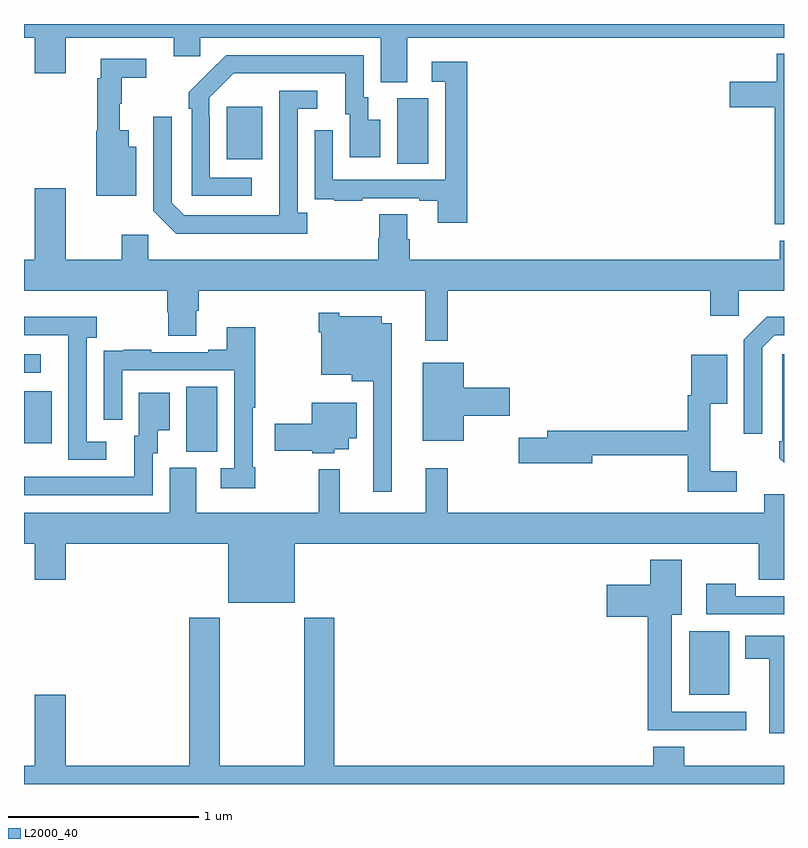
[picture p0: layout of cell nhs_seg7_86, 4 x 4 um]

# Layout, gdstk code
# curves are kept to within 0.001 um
import gdstk
lib = gdstk.Library(unit=1e-6, precision=1e-09)
def R(c, l, rs):  # rectangles x0, y0, x1, y1
    for r in rs: c.add(gdstk.rectangle(r[:2], r[2:], *l))
def P(c, l, *ps):  # polygons
    for p in ps: c.add(gdstk.Polygon(p, *l))
L2000_40 = (2000, 40)

nhs_seg7_86 = lib.new_cell('nhs_seg7_86')
R(nhs_seg7_86, L2000_40, [(120.5,1018.469,120.712,1018.804), (117.854,1019.749,118.018,1020.092), (117,1019.793,117.145,1020.067), (117,1020.165,117.088,1020.261), (118.964,1021.264,119.128,1021.608), (118.067,1021.289,118.255,1021.564)])
P(nhs_seg7_86, L2000_40, [(119.017,1021.928),(121,1021.928),(121,1022),(117,1022),(117,1021.928),(117.056,1021.928),(117.056,1021.74),(117.22,1021.74),(117.22,1021.928),(117.788,1021.928),(117.788,1021.83),(117.927,1021.83),(117.927,1021.928),(118.877,1021.928),(118.877,1021.693),(119.017,1021.693)],
  [(121,1021.843),(120.962,1021.843),(120.962,1021.696),(120.714,1021.696),(120.714,1021.562),(120.95,1021.562),(120.95,1020.947),(121,1020.947)],
  [(118.198,1021.191),(117.978,1021.191),(117.978,1021.511),(117.975,1021.511),(117.975,1021.611),(118.104,1021.74),(118.691,1021.74),(118.691,1021.524),(118.715,1021.524),(118.715,1021.299),(118.876,1021.299),(118.876,1021.495),(118.813,1021.495),(118.813,1021.614),(118.788,1021.614),(118.788,1021.836),(118.064,1021.836),(117.867,1021.641),(117.867,1021.553),(117.882,1021.553),(117.882,1021.095),(118.198,1021.095)],
  [(117.592,1021.354),(117.55,1021.354),(117.55,1021.441),(117.503,1021.441),(117.503,1021.581),(117.514,1021.581),(117.514,1021.717),(117.643,1021.717),(117.643,1021.818),(117.404,1021.818),(117.404,1021.715),(117.385,1021.715),(117.385,1021.437),(117.38,1021.437),(117.38,1021.097),(117.592,1021.097)],
  [(119.333,1021.801),(119.145,1021.801),(119.145,1021.695),(119.217,1021.695),(119.217,1021.179),(118.626,1021.179),(118.626,1021.441),(118.53,1021.441),(118.53,1021.186),(118.531,1021.186),(118.531,1021.077),(118.633,1021.077),(118.633,1021.071),(118.781,1021.071),(118.781,1021.083),(119.081,1021.083),(119.081,1021.071),(119.177,1021.071),(119.177,1020.954),(119.333,1020.954)],
  [(118.492,1021.006),(118.44,1021.006),(118.44,1021.554),(118.543,1021.554),(118.543,1021.65),(118.344,1021.65),(118.343,1020.993),(117.843,1020.993),(117.777,1021.059),(117.777,1021.513),(117.681,1021.513),(117.681,1021.017),(117.802,1020.896),(118.492,1020.896)],
  [(119.231,1020.596),(120.611,1020.596),(120.611,1020.465),(120.762,1020.465),(120.762,1020.596),(121,1020.596),(121,1020.859),(120.977,1020.859),(120.977,1020.76),(119.03,1020.76),(119.03,1020.866),(119.017,1020.866),(119.017,1020.998),(118.87,1020.998),(118.87,1020.873),(118.865,1020.873),(118.865,1020.76),(117.654,1020.76),(117.654,1020.892),(117.515,1020.892),(117.515,1020.76),(117.22,1020.76),(117.22,1021.135),(117.056,1021.135),(117.056,1020.76),(117,1020.76),(117,1020.596),(117.755,1020.596),(117.755,1020.483),(117.76,1020.483),(117.76,1020.358),(117.907,1020.358),(117.907,1020.49),(117.92,1020.49),(117.92,1020.596),(119.113,1020.596),(119.113,1020.333),(119.231,1020.333)],
  [(118.936,1020.424),(118.882,1020.424),(118.882,1020.463),(118.659,1020.463),(118.659,1020.481),(118.551,1020.481),(118.551,1020.377),(118.565,1020.377),(118.565,1020.155),(118.724,1020.155),(118.724,1020.119),(118.839,1020.119),(118.839,1019.538),(118.936,1019.538)],
  [(120.885,1020.297),(120.951,1020.363),(121,1020.363),(121,1020.46),(120.91,1020.46),(120.789,1020.339),(120.789,1019.844),(120.885,1019.844)],
  [(117.433,1019.802),(117.33,1019.802),(117.33,1020.35),(117.382,1020.35),(117.382,1020.46),(117,1020.46),(117,1020.363),(117.233,1020.363),(117.233,1020.163),(117.234,1020.163),(117.234,1019.706),(117.433,1019.706)],
  [(118.216,1019.668),(118.203,1019.668),(118.203,1019.98),(118.216,1019.98),(118.216,1020.403),(118.067,1020.403),(118.067,1020.286),(117.971,1020.286),(117.971,1020.273),(117.671,1020.273),(117.671,1020.286),(117.523,1020.286),(117.523,1020.279),(117.421,1020.279),(117.421,1020.17),(117.42,1020.17),(117.42,1019.916),(117.516,1019.916),(117.516,1020.177),(118.107,1020.177),(118.107,1019.661),(118.035,1019.661),(118.035,1019.556),(118.216,1019.556)],
  [(121,1020.261),(120.99,1020.261),(120.99,1019.803),(120.975,1019.803),(120.975,1019.715),(121,1019.69)],
  [(120.751,1019.647),(120.611,1019.647),(120.611,1020.002),(120.7,1020.002),(120.7,1020.259),(120.512,1020.259),(120.512,1020.045),(120.493,1020.045),(120.493,1019.858),(119.753,1019.858),(119.753,1019.822),(119.604,1019.822),(119.604,1019.687),(119.992,1019.687),(119.992,1019.73),(120.493,1019.73),(120.493,1019.538),(120.751,1019.538)],
  [(119.314,1019.939),(119.557,1019.939),(119.557,1020.086),(119.314,1020.086),(119.314,1020.217),(119.099,1020.217),(119.099,1019.807),(119.314,1019.807)],
  [(117.678,1019.742),(117.703,1019.742),(117.703,1019.861),(117.766,1019.861),(117.766,1020.058),(117.605,1020.058),(117.605,1019.832),(117.581,1019.832),(117.581,1019.616),(117.097,1019.616),(117.097,1019.617),(117,1019.617),(117,1019.52),(117.678,1019.52)],
  [(118.632,1019.762),(118.708,1019.762),(118.708,1019.819),(118.75,1019.819),(118.75,1020.007),(118.514,1020.007),(118.514,1019.897),(118.32,1019.897),(118.32,1019.755),(118.518,1019.755),(118.518,1019.741),(118.632,1019.741)],
  [(118.426,1019.264),(120.868,1019.264),(120.868,1019.074),(121,1019.074),(121,1019.526),(120.896,1019.526),(120.896,1019.428),(119.231,1019.428),(119.231,1019.662),(119.114,1019.662),(119.114,1019.428),(118.661,1019.428),(118.661,1019.656),(118.551,1019.656),(118.551,1019.428),(117.907,1019.428),(117.907,1019.664),(117.767,1019.664),(117.767,1019.428),(117,1019.428),(117,1019.264),(117.056,1019.264),(117.056,1019.076),(117.22,1019.076),(117.22,1019.264),(118.076,1019.264),(118.076,1018.955),(118.426,1018.955)],
  [(120.802,1018.38),(120.409,1018.38),(120.409,1018.892),(120.463,1018.892),(120.463,1019.179),(120.296,1019.179),(120.296,1019.05),(120.066,1019.05),(120.066,1018.88),(120.284,1018.88),(120.284,1018.283),(120.802,1018.283)],
  [(121,1018.989),(120.747,1018.989),(120.747,1019.053),(120.591,1019.053),(120.591,1018.893),(121,1018.893)],
  [(121,1018.096),(120.476,1018.096),(120.476,1018.195),(120.311,1018.195),(120.311,1018.096),(118.634,1018.096),(118.634,1018.876),(118.474,1018.876),(118.474,1018.096),(118.029,1018.096),(118.029,1018.876),(117.869,1018.876),(117.869,1018.096),(117.22,1018.096),(117.22,1018.471),(117.056,1018.471),(117.056,1018.096),(117,1018.096),(117,1018),(121,1018)],
  [(121,1018.78),(120.797,1018.78),(120.797,1018.658),(120.923,1018.658),(120.923,1018.268),(121,1018.268)])

lib.write_gds('nhs_seg7_86.gds')
